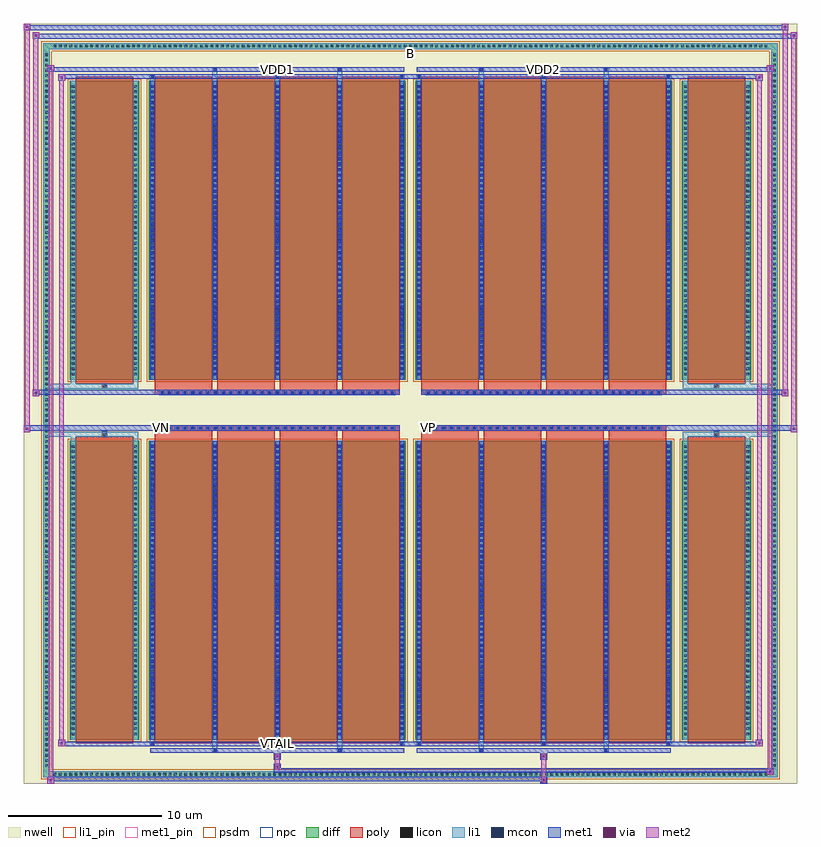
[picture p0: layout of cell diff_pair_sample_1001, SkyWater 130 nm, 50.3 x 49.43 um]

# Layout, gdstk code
import gdstk
lib = gdstk.Library(unit=1e-6, precision=5e-09)
def R(c, l, rs):  # rectangles x0, y0, x1, y1
    for r in rs: c.add(gdstk.rectangle(r[:2], r[2:], *l))
def A(c, l, x, y, w, h, nx, ny, dx, dy):  # array of equal rectangles
    R(c, l, [(x+i*dx, y+j*dy, x+i*dx+w, y+j*dy+h) for i in range(nx) for j in range(ny)])
def P(c, l, *ps):  # polygons
    for p in ps: c.add(gdstk.Polygon(p, *l))
nwell = (64, 20)
diff = (65, 20)
poly = (66, 20)
licon = (66, 44)
li1_pin = (67, 16)
li1 = (67, 20)
mcon = (67, 44)
met1_pin = (68, 16)
met1 = (68, 20)
via = (68, 44)
met2 = (69, 20)
psdm = (94, 20)
npc = (95, 20)

diff_pair_sample_1001 = lib.new_cell('diff_pair_sample_1001')
R(diff_pair_sample_1001, nwell, [(-25.15,-24.28,25.15,25.15), (-22.47,-22.47,-0.01,-0.795), (0.01,-22.47,22.47,-0.795), (-22.47,0.795,-0.01,22.47), (0.01,0.795,22.47,22.47)])
A(diff_pair_sample_1001, diff, -23.325, -23.88, 0.41, 0.41, 137, 2, 0.34, 47.35)
A(diff_pair_sample_1001, diff, -23.88, -23.325, 0.41, 0.41, 1, 137, 0, 0.34)
A(diff_pair_sample_1001, diff, 23.47, -23.325, 0.41, 0.41, 1, 137, 0, 0.34)
R(diff_pair_sample_1001, diff, [(-23.325,-23.88,23.325,-23.47), (-23.88,-23.325,-23.47,23.325), (23.47,-23.325,23.88,23.325), (-22.16,-21.425,-17.65,-1.985), (-17.01,-21.425,-0.32,-1.985), (0.32,-21.425,17.01,-1.985), (17.65,-21.425,22.16,-1.985), (-22.16,1.985,-17.65,21.425), (-17.01,1.985,-0.32,21.425), (0.32,1.985,17.01,21.425), (17.65,1.985,22.16,21.425), (-23.325,23.47,23.325,23.88)])
P(diff_pair_sample_1001, diff, [(23.88,23.88),(-23.88,23.88),(-23.88,-23.47),(-23.47,-23.47),(-23.47,23.47),(23.47,23.47),(23.47,-23.47),(-23.47,-23.47),(-23.88,-23.47),(-23.88,-23.88),(23.88,-23.88)])
A(diff_pair_sample_1001, poly, -16.62, -21.675, 3.73, 19.94, 4, 2, 4.06, 23.41)
A(diff_pair_sample_1001, poly, 0.71, -21.675, 3.73, 19.94, 4, 2, 4.06, 23.41)
A(diff_pair_sample_1001, poly, -16.62, -1.735, 3.73, 0.41, 4, 2, 4.06, 3.06)
A(diff_pair_sample_1001, poly, 0.71, -1.735, 3.73, 0.41, 4, 2, 4.06, 3.06)
A(diff_pair_sample_1001, poly, -16.33, -1.325, 0.33, 0.33, 31, 2, 0.5, 2.32)
A(diff_pair_sample_1001, poly, 1, -1.325, 0.33, 0.33, 31, 2, 0.5, 2.32)
R(diff_pair_sample_1001, poly, [(-21.77,-21.675,-18.04,-1.735), (18.04,-21.675,21.77,-1.735), (-20.07,-1.735,-19.74,-1.405), (-20.07,-1.735,-19.74,-1.405), (19.74,-1.735,20.07,-1.405), (19.74,-1.735,20.07,-1.405), (-16.62,-1.325,-0.71,-0.995), (0.71,-1.325,16.62,-0.995), (-16.62,0.995,-0.71,1.325), (0.71,0.995,16.62,1.325), (-20.07,1.405,-19.74,1.735), (-20.07,1.405,-19.74,1.735), (19.74,1.405,20.07,1.735), (19.74,1.405,20.07,1.735), (-21.77,1.735,-18.04,21.675), (18.04,1.735,21.77,21.675)])
A(diff_pair_sample_1001, licon, -23.205, -23.76, 0.17, 0.17, 137, 2, 0.34, 47.35)
A(diff_pair_sample_1001, licon, -23.76, -23.205, 0.17, 0.17, 1, 137, 0, 0.34)
A(diff_pair_sample_1001, licon, 23.59, -23.205, 0.17, 0.17, 1, 137, 0, 0.34)
A(diff_pair_sample_1001, licon, -22.02, -21.14, 0.17, 0.17, 1, 56, 0, 0.34)
A(diff_pair_sample_1001, licon, -17.96, -21.14, 0.17, 0.17, 1, 56, 0, 0.34)
A(diff_pair_sample_1001, licon, -16.87, -21.14, 0.17, 0.17, 5, 56, 4.06, 0.34)
A(diff_pair_sample_1001, licon, 0.46, -21.14, 0.17, 0.17, 5, 56, 4.06, 0.34)
A(diff_pair_sample_1001, licon, 17.79, -21.14, 0.17, 0.17, 1, 56, 0, 0.34)
A(diff_pair_sample_1001, licon, 21.85, -21.14, 0.17, 0.17, 1, 56, 0, 0.34)
A(diff_pair_sample_1001, licon, -16.25, -1.245, 0.17, 0.17, 31, 2, 0.5, 2.32)
A(diff_pair_sample_1001, licon, 1.08, -1.245, 0.17, 0.17, 31, 2, 0.5, 2.32)
A(diff_pair_sample_1001, licon, -22.02, 2.27, 0.17, 0.17, 1, 56, 0, 0.34)
A(diff_pair_sample_1001, licon, -17.96, 2.27, 0.17, 0.17, 1, 56, 0, 0.34)
A(diff_pair_sample_1001, licon, -16.87, 2.27, 0.17, 0.17, 5, 56, 4.06, 0.34)
A(diff_pair_sample_1001, licon, 0.46, 2.27, 0.17, 0.17, 5, 56, 4.06, 0.34)
A(diff_pair_sample_1001, licon, 17.79, 2.27, 0.17, 0.17, 1, 56, 0, 0.34)
A(diff_pair_sample_1001, licon, 21.85, 2.27, 0.17, 0.17, 1, 56, 0, 0.34)
R(diff_pair_sample_1001, licon, [(-19.99,-1.655,-19.82,-1.485), (19.82,-1.655,19.99,-1.485), (-19.99,1.485,-19.82,1.655), (19.82,1.485,19.99,1.655)])
R(diff_pair_sample_1001, li1_pin, [(-0.25,22.97,0.25,23.47)])
A(diff_pair_sample_1001, li1, -23.285, -23.84, 0.33, 0.33, 137, 2, 0.34, 47.35)
A(diff_pair_sample_1001, li1, -23.84, -23.285, 0.33, 0.33, 1, 137, 0, 0.34)
A(diff_pair_sample_1001, li1, 23.51, -23.285, 0.33, 0.33, 1, 137, 0, 0.34)
A(diff_pair_sample_1001, li1, -16.95, -21.8, 0.33, 0.375, 3, 2, 8.12, 43.225)
A(diff_pair_sample_1001, li1, -16.87, -21.8, 0.17, 0.17, 3, 2, 8.12, 43.43)
A(diff_pair_sample_1001, li1, 0.38, -21.8, 0.33, 0.375, 3, 2, 8.12, 43.225)
A(diff_pair_sample_1001, li1, 0.46, -21.8, 0.17, 0.17, 3, 2, 8.12, 43.43)
A(diff_pair_sample_1001, li1, -16.95, -21.425, 0.33, 19.44, 5, 2, 4.06, 23.41)
A(diff_pair_sample_1001, li1, 0.38, -21.425, 0.33, 19.44, 5, 2, 4.06, 23.41)
A(diff_pair_sample_1001, li1, -22.1, -21.22, 0.33, 0.33, 1, 56, 0, 0.34)
A(diff_pair_sample_1001, li1, -18.04, -21.22, 0.33, 0.33, 1, 56, 0, 0.34)
A(diff_pair_sample_1001, li1, -16.95, -21.22, 0.33, 0.33, 5, 56, 4.06, 0.34)
A(diff_pair_sample_1001, li1, 0.38, -21.22, 0.33, 0.33, 5, 56, 4.06, 0.34)
A(diff_pair_sample_1001, li1, 17.71, -21.22, 0.33, 0.33, 1, 56, 0, 0.34)
A(diff_pair_sample_1001, li1, 21.77, -21.22, 0.33, 0.33, 1, 56, 0, 0.34)
A(diff_pair_sample_1001, li1, -16.87, -21.15, 0.17, 0.17, 5, 53, 4.06, 0.36)
A(diff_pair_sample_1001, li1, -16.87, -21.15, 0.17, 18.89, 5, 2, 4.06, 23.41)
A(diff_pair_sample_1001, li1, 0.46, -21.15, 0.17, 0.17, 5, 53, 4.06, 0.36)
A(diff_pair_sample_1001, li1, 0.46, -21.15, 0.17, 18.89, 5, 2, 4.06, 23.41)
A(diff_pair_sample_1001, li1, -16.33, -1.325, 0.33, 0.33, 31, 2, 0.5, 2.32)
A(diff_pair_sample_1001, li1, 1, -1.325, 0.33, 0.33, 31, 2, 0.5, 2.32)
A(diff_pair_sample_1001, li1, -22.1, 2.19, 0.33, 0.33, 1, 56, 0, 0.34)
A(diff_pair_sample_1001, li1, -18.04, 2.19, 0.33, 0.33, 1, 56, 0, 0.34)
A(diff_pair_sample_1001, li1, -16.95, 2.19, 0.33, 0.33, 5, 56, 4.06, 0.34)
A(diff_pair_sample_1001, li1, 0.38, 2.19, 0.33, 0.33, 5, 56, 4.06, 0.34)
A(diff_pair_sample_1001, li1, 17.71, 2.19, 0.33, 0.33, 1, 56, 0, 0.34)
A(diff_pair_sample_1001, li1, 21.77, 2.19, 0.33, 0.33, 1, 56, 0, 0.34)
A(diff_pair_sample_1001, li1, -16.87, 2.26, 0.17, 0.17, 5, 53, 4.06, 0.36)
A(diff_pair_sample_1001, li1, 0.46, 2.26, 0.17, 0.17, 5, 53, 4.06, 0.36)
R(diff_pair_sample_1001, li1, [(-23.88,-23.88,-23.47,-23.47), (-23.88,-23.88,-23.47,-23.47), (-23.47,-23.88,23.47,-23.47), (23.47,-23.88,23.88,-23.47), (23.47,-23.88,23.88,-23.47), (-23.88,-23.47,-23.47,23.47), (23.47,-23.47,23.88,23.47), (-12.89,-22.23,-12.56,-21.425), (-12.81,-22.23,-12.64,-22.06), (-4.77,-22.23,-4.44,-21.425), (-4.69,-22.23,-4.52,-22.06), (4.44,-22.23,4.77,-21.425), (4.52,-22.23,4.69,-22.06), (12.56,-22.23,12.89,-21.425), (12.64,-22.23,12.81,-22.06), (-22.1,-21.425,-21.77,-1.985), (-18.04,-21.425,-17.71,-1.985), (17.71,-21.425,18.04,-1.985), (21.77,-21.425,22.1,-1.985), (-22.1,-1.985,-21.77,-1.405), (-18.04,-1.985,-17.71,-1.405), (17.71,-1.985,18.04,-1.405), (21.77,-1.985,22.1,-1.405), (-23.88,-1.735,-20.07,-1.405), (-22.1,-1.735,-20.07,-1.405), (-20.07,-1.735,-19.74,-1.405), (-19.74,-1.735,-17.71,-1.405), (17.71,-1.735,19.74,-1.405), (19.74,-1.735,20.07,-1.405), (19.74,-1.735,23.88,-1.405), (20.07,-1.735,22.1,-1.405), (-23.88,1.405,-20.07,1.735), (-22.1,1.405,-20.07,1.735), (-22.1,1.405,-21.77,1.985), (-20.07,1.405,-19.74,1.735), (-19.74,1.405,-17.71,1.735), (-18.04,1.405,-17.71,1.985), (17.71,1.405,19.74,1.735), (17.71,1.405,18.04,1.985), (19.74,1.405,20.07,1.735), (19.74,1.405,23.88,1.735), (20.07,1.405,22.1,1.735), (21.77,1.405,22.1,1.985), (-22.1,1.985,-21.77,21.425), (-18.04,1.985,-17.71,21.425), (17.71,1.985,18.04,21.425), (21.77,1.985,22.1,21.425), (-12.89,21.425,-12.56,22.23), (-4.77,21.425,-4.44,22.23), (4.44,21.425,4.77,22.23), (12.56,21.425,12.89,22.23), (-12.81,22.06,-12.64,22.23), (-4.69,22.06,-4.52,22.23), (4.52,22.06,4.69,22.23), (12.64,22.06,12.81,22.23), (-23.88,23.47,-23.47,23.88), (-23.88,23.47,-23.47,23.88), (-23.47,23.47,23.47,23.88), (23.47,23.47,23.88,23.88), (23.47,23.47,23.88,23.88)])
A(diff_pair_sample_1001, mcon, -16.87, -21.8, 0.17, 0.17, 3, 2, 8.12, 43.43)
A(diff_pair_sample_1001, mcon, 0.46, -21.8, 0.17, 0.17, 3, 2, 8.12, 43.43)
A(diff_pair_sample_1001, mcon, -16.87, -21.15, 0.17, 0.17, 5, 53, 4.06, 0.36)
A(diff_pair_sample_1001, mcon, 0.46, -21.15, 0.17, 0.17, 5, 53, 4.06, 0.36)
A(diff_pair_sample_1001, mcon, -16.25, -1.245, 0.17, 0.17, 31, 2, 0.5, 2.32)
A(diff_pair_sample_1001, mcon, 1.08, -1.245, 0.17, 0.17, 31, 2, 0.5, 2.32)
A(diff_pair_sample_1001, mcon, -16.87, 2.26, 0.17, 0.17, 5, 53, 4.06, 0.36)
A(diff_pair_sample_1001, mcon, 0.46, 2.26, 0.17, 0.17, 5, 53, 4.06, 0.36)
R(diff_pair_sample_1001, mcon, [(-12.81,-22.23,-12.64,-22.06), (-4.69,-22.23,-4.52,-22.06), (4.52,-22.23,4.69,-22.06), (12.64,-22.23,12.81,-22.06), (-12.81,22.06,-12.64,22.23), (-4.69,22.06,-4.52,22.23), (4.52,22.06,4.69,22.23), (12.64,22.06,12.81,22.23)])
R(diff_pair_sample_1001, met1_pin, [(-8.8,-21.84,-8.53,-21.57), (-16.3,-1.285,-16.03,-1.015), (1.03,-1.285,1.3,-1.015), (-8.8,22.02,-8.53,22.29), (8.53,22.02,8.8,22.29)])
A(diff_pair_sample_1001, met1, -16.93, -21.86, 0.29, 0.29, 3, 2, 8.12, 43.43)
A(diff_pair_sample_1001, met1, 0.4, -21.86, 0.29, 0.29, 3, 2, 8.12, 43.43)
A(diff_pair_sample_1001, met1, -16.93, -21.425, 0.29, 19.44, 5, 2, 4.06, 23.41)
A(diff_pair_sample_1001, met1, 0.4, -21.425, 0.29, 19.44, 5, 2, 4.06, 23.41)
A(diff_pair_sample_1001, met1, -16.93, -21.21, 0.29, 0.29, 5, 53, 4.06, 0.36)
A(diff_pair_sample_1001, met1, 0.4, -21.21, 0.29, 0.29, 5, 53, 4.06, 0.36)
A(diff_pair_sample_1001, met1, -16.31, -1.305, 0.29, 0.29, 31, 2, 0.5, 2.32)
A(diff_pair_sample_1001, met1, 1.02, -1.305, 0.29, 0.29, 31, 2, 0.5, 2.32)
A(diff_pair_sample_1001, met1, -16.93, 2.2, 0.29, 0.29, 5, 53, 4.06, 0.36)
A(diff_pair_sample_1001, met1, 0.4, 2.2, 0.29, 0.29, 5, 53, 4.06, 0.36)
R(diff_pair_sample_1001, met1, [(-23.61,-24.28,-23.18,-23.85), (8.45,-24.28,8.88,-23.85), (-23.61,-24.14,8.88,-23.85), (23.18,-23.71,23.61,-23.28), (-8.88,-23.57,23.61,-23.28), (-8.88,-23.43,-8.45,-23), (-8.88,-22.72,-8.45,-22.29), (8.45,-22.72,8.88,-22.29), (-16.93,-22.29,-0.4,-22), (-12.87,-22.29,-12.58,-22), (-4.75,-22.29,-4.46,-22), (0.4,-22.29,16.93,-22), (4.46,-22.29,4.75,-22), (12.58,-22.29,12.87,-22), (-22.9,-21.86,-22.47,-21.43), (-22.9,-21.86,-16.93,-21.57), (-16.93,-21.86,-0.4,-21.57), (-0.4,-21.86,0.4,-21.57), (0.4,-21.86,16.93,-21.57), (16.93,-21.86,22.9,-21.57), (22.47,-21.86,22.9,-21.43), (-25.15,-1.425,-24.72,-0.995), (24.72,-1.425,25.15,-0.995), (-25.15,-1.325,-0.71,-0.995), (-16.62,-1.325,-0.71,-0.995), (0.71,-1.325,16.62,-0.995), (0.71,-1.325,25.15,-0.995), (-24.58,0.895,-24.15,1.325), (24.15,0.895,24.58,1.325), (-24.58,0.995,-16.62,1.325), (-16.62,0.995,-0.71,1.325), (0.71,0.995,16.62,1.325), (16.62,0.995,24.58,1.325), (-22.9,21.43,-22.47,21.86), (22.47,21.43,22.9,21.86), (-22.9,21.57,-16.93,21.86), (-16.93,21.57,-0.4,21.86), (-0.4,21.57,0.4,21.86), (0.4,21.57,16.93,21.86), (16.93,21.57,22.9,21.86), (-23.61,22,-23.18,22.43), (-23.61,22,-16.93,22.29), (-16.93,22,-0.4,22.29), (-12.87,22,-12.58,22.29), (-4.75,22,-4.46,22.29), (0.4,22,16.93,22.29), (4.46,22,4.75,22.29), (12.58,22,12.87,22.29), (16.93,22,23.61,22.29), (23.18,22,23.61,22.43), (-24.58,24.15,-24.15,24.58), (-24.58,24.15,-22.47,24.48), (-22.47,24.15,22.47,24.48), (22.47,24.15,25.15,24.48), (24.72,24.15,25.15,24.58), (-25.15,24.72,-24.72,25.15), (-25.15,24.72,-22.47,25.05), (-22.47,24.72,22.47,25.05), (22.47,24.72,24.58,25.05), (24.15,24.72,24.58,25.15)])
R(diff_pair_sample_1001, via, [(-23.47,-24.14,-23.32,-23.99), (8.59,-24.14,8.74,-23.99), (23.32,-23.57,23.47,-23.42), (-8.74,-23.29,-8.59,-23.14), (-8.74,-22.58,-8.59,-22.43), (8.59,-22.58,8.74,-22.43), (-22.76,-21.72,-22.61,-21.57), (22.61,-21.72,22.76,-21.57), (-25.01,-1.285,-24.86,-1.135), (24.86,-1.285,25.01,-1.135), (-24.44,1.035,-24.29,1.185), (24.29,1.035,24.44,1.185), (-22.76,21.57,-22.61,21.72), (22.61,21.57,22.76,21.72), (-23.47,22.14,-23.32,22.29), (23.32,22.14,23.47,22.29), (-24.44,24.29,-24.29,24.44), (24.86,24.29,25.01,24.44), (-25.01,24.86,-24.86,25.01), (24.29,24.86,24.44,25.01)])
R(diff_pair_sample_1001, met2, [(-23.61,-24.28,-23.18,-23.85), (-23.54,-24.28,-23.25,22.43), (-23.25,-24.28,-23.18,-23.85), (-23.56,-24.23,-23.23,-23.9), (8.5,-24.23,8.83,-23.9), (8.5,-23.9,8.83,-22.67), (23.18,-23.71,23.61,-23.28), (23.25,-23.71,23.54,22.43), (23.54,-23.71,23.61,-23.28), (23.23,-23.66,23.56,-23.33), (-8.83,-23.38,-8.5,-23.05), (-8.83,-23.05,-8.5,-22.67), (-8.83,-22.67,-8.5,-22.34), (8.5,-22.67,8.83,-22.34), (-22.9,-21.86,-22.47,-21.43), (-22.83,-21.86,-22.54,21.86), (-22.54,-21.86,-22.47,-21.43), (22.47,-21.86,22.9,-21.43), (22.54,-21.86,22.83,21.86), (22.83,-21.86,22.9,-21.43), (-22.85,-21.81,-22.52,-21.48), (22.52,-21.81,22.85,-21.48), (-25.15,-1.425,-24.72,-0.995), (-25.1,-1.425,-24.77,25.15), (-24.77,-1.425,-24.72,-0.995), (24.72,-1.425,25.15,-0.995), (24.77,-1.425,25.1,24.58), (25.1,-1.425,25.15,-0.995), (-25.1,-1.375,-24.77,-1.045), (24.77,-1.375,25.1,-1.045), (-24.58,0.895,-24.15,1.325), (-24.53,0.895,-24.2,24.58), (-24.2,0.895,-24.15,1.325), (24.15,0.895,24.58,1.325), (24.2,0.895,24.53,25.15), (24.53,0.895,24.58,1.325), (-24.53,0.945,-24.2,1.275), (24.2,0.945,24.53,1.275), (-22.9,21.43,-22.47,21.86), (-22.54,21.43,-22.47,21.86), (22.47,21.43,22.9,21.86), (22.83,21.43,22.9,21.86), (-22.85,21.48,-22.52,21.81), (22.52,21.48,22.85,21.81), (-23.61,22,-23.18,22.43), (-23.25,22,-23.18,22.43), (23.18,22,23.61,22.43), (23.54,22,23.61,22.43), (-23.56,22.05,-23.23,22.38), (23.23,22.05,23.56,22.38), (-24.58,24.15,-24.15,24.58), (-24.2,24.15,-24.15,24.58), (24.72,24.15,25.15,24.58), (25.1,24.15,25.15,24.58), (-24.53,24.2,-24.2,24.53), (24.77,24.2,25.1,24.53), (-25.15,24.72,-24.72,25.15), (-24.77,24.72,-24.72,25.15), (24.15,24.72,24.58,25.15), (24.53,24.72,24.58,25.15), (-25.1,24.77,-24.77,25.1), (24.2,24.77,24.53,25.1)])
R(diff_pair_sample_1001, psdm, [(-22.29,-21.555,-17.52,-1.855), (-17.14,-21.555,-0.19,-1.855), (0.19,-21.555,17.14,-1.855), (17.52,-21.555,22.29,-1.855), (-22.29,1.855,-17.52,21.555), (-17.14,1.855,-0.19,21.555), (0.19,1.855,17.14,21.555), (17.52,1.855,22.29,21.555)])
P(diff_pair_sample_1001, psdm, [(24.01,24.01),(-24.01,24.01),(-24.01,-23.34),(-23.34,-23.34),(-23.34,23.34),(23.34,23.34),(23.34,-23.34),(-23.34,-23.34),(-24.01,-23.34),(-24.01,-24.01),(24.01,-24.01)])
A(diff_pair_sample_1001, npc, -16.35, -1.345, 0.37, 0.37, 31, 2, 0.5, 2.32)
A(diff_pair_sample_1001, npc, 0.98, -1.345, 0.37, 0.37, 31, 2, 0.5, 2.32)
R(diff_pair_sample_1001, npc, [(-20.09,-1.755,-19.72,-1.385), (19.72,-1.755,20.09,-1.385), (-16.35,-1.345,-15.48,-0.975), (-16.35,-1.345,-15.48,-0.975), (-15.85,-1.345,-14.98,-0.975), (-15.85,-1.345,-14.98,-0.975), (-15.35,-1.345,-14.48,-0.975), (-15.35,-1.345,-14.48,-0.975), (-14.85,-1.345,-13.98,-0.975), (-14.85,-1.345,-13.98,-0.975), (-14.35,-1.345,-13.48,-0.975), (-14.35,-1.345,-13.48,-0.975), (-13.85,-1.345,-12.98,-0.975), (-13.85,-1.345,-12.98,-0.975), (-13.35,-1.345,-12.48,-0.975), (-13.35,-1.345,-12.48,-0.975), (-12.85,-1.345,-11.98,-0.975), (-12.85,-1.345,-11.98,-0.975), (-12.35,-1.345,-11.48,-0.975), (-12.35,-1.345,-11.48,-0.975), (-11.85,-1.345,-10.98,-0.975), (-11.85,-1.345,-10.98,-0.975), (-11.35,-1.345,-10.48,-0.975), (-11.35,-1.345,-10.48,-0.975), (-10.85,-1.345,-9.98,-0.975), (-10.85,-1.345,-9.98,-0.975), (-10.35,-1.345,-9.48,-0.975), (-10.35,-1.345,-9.48,-0.975), (-9.85,-1.345,-8.98,-0.975), (-9.85,-1.345,-8.98,-0.975), (-9.35,-1.345,-8.48,-0.975), (-9.35,-1.345,-8.48,-0.975), (-8.85,-1.345,-7.98,-0.975), (-8.85,-1.345,-7.98,-0.975), (-8.35,-1.345,-7.48,-0.975), (-8.35,-1.345,-7.48,-0.975), (-7.85,-1.345,-6.98,-0.975), (-7.85,-1.345,-6.98,-0.975), (-7.35,-1.345,-6.48,-0.975), (-7.35,-1.345,-6.48,-0.975), (-6.85,-1.345,-5.98,-0.975), (-6.85,-1.345,-5.98,-0.975), (-6.35,-1.345,-5.48,-0.975), (-6.35,-1.345,-5.48,-0.975), (-5.85,-1.345,-4.98,-0.975), (-5.85,-1.345,-4.98,-0.975), (-5.35,-1.345,-4.48,-0.975), (-5.35,-1.345,-4.48,-0.975), (-4.85,-1.345,-3.98,-0.975), (-4.85,-1.345,-3.98,-0.975), (-4.35,-1.345,-3.48,-0.975), (-4.35,-1.345,-3.48,-0.975), (-3.85,-1.345,-2.98,-0.975), (-3.85,-1.345,-2.98,-0.975), (-3.35,-1.345,-2.48,-0.975), (-3.35,-1.345,-2.48,-0.975), (-2.85,-1.345,-1.98,-0.975), (-2.85,-1.345,-1.98,-0.975), (-2.35,-1.345,-1.48,-0.975), (-2.35,-1.345,-1.48,-0.975), (-1.85,-1.345,-0.98,-0.975), (-1.85,-1.345,-0.98,-0.975), (0.98,-1.345,1.85,-0.975), (0.98,-1.345,1.85,-0.975), (1.48,-1.345,2.35,-0.975), (1.48,-1.345,2.35,-0.975), (1.98,-1.345,2.85,-0.975), (1.98,-1.345,2.85,-0.975), (2.48,-1.345,3.35,-0.975), (2.48,-1.345,3.35,-0.975), (2.98,-1.345,3.85,-0.975), (2.98,-1.345,3.85,-0.975), (3.48,-1.345,4.35,-0.975), (3.48,-1.345,4.35,-0.975), (3.98,-1.345,4.85,-0.975), (3.98,-1.345,4.85,-0.975), (4.48,-1.345,5.35,-0.975), (4.48,-1.345,5.35,-0.975), (4.98,-1.345,5.85,-0.975), (4.98,-1.345,5.85,-0.975), (5.48,-1.345,6.35,-0.975), (5.48,-1.345,6.35,-0.975), (5.98,-1.345,6.85,-0.975), (5.98,-1.345,6.85,-0.975), (6.48,-1.345,7.35,-0.975), (6.48,-1.345,7.35,-0.975), (6.98,-1.345,7.85,-0.975), (6.98,-1.345,7.85,-0.975), (7.48,-1.345,8.35,-0.975), (7.48,-1.345,8.35,-0.975), (7.98,-1.345,8.85,-0.975), (7.98,-1.345,8.85,-0.975), (8.48,-1.345,9.35,-0.975), (8.48,-1.345,9.35,-0.975), (8.98,-1.345,9.85,-0.975), (8.98,-1.345,9.85,-0.975), (9.48,-1.345,10.35,-0.975), (9.48,-1.345,10.35,-0.975), (9.98,-1.345,10.85,-0.975), (9.98,-1.345,10.85,-0.975), (10.48,-1.345,11.35,-0.975), (10.48,-1.345,11.35,-0.975), (10.98,-1.345,11.85,-0.975), (10.98,-1.345,11.85,-0.975), (11.48,-1.345,12.35,-0.975), (11.48,-1.345,12.35,-0.975), (11.98,-1.345,12.85,-0.975), (11.98,-1.345,12.85,-0.975), (12.48,-1.345,13.35,-0.975), (12.48,-1.345,13.35,-0.975), (12.98,-1.345,13.85,-0.975), (12.98,-1.345,13.85,-0.975), (13.48,-1.345,14.35,-0.975), (13.48,-1.345,14.35,-0.975), (13.98,-1.345,14.85,-0.975), (13.98,-1.345,14.85,-0.975), (14.48,-1.345,15.35,-0.975), (14.48,-1.345,15.35,-0.975), (14.98,-1.345,15.85,-0.975), (14.98,-1.345,15.85,-0.975), (15.48,-1.345,16.35,-0.975), (15.48,-1.345,16.35,-0.975), (-16.35,0.975,-15.48,1.345), (-16.35,0.975,-15.48,1.345), (-15.85,0.975,-14.98,1.345), (-15.85,0.975,-14.98,1.345), (-15.35,0.975,-14.48,1.345), (-15.35,0.975,-14.48,1.345), (-14.85,0.975,-13.98,1.345), (-14.85,0.975,-13.98,1.345), (-14.35,0.975,-13.48,1.345), (-14.35,0.975,-13.48,1.345), (-13.85,0.975,-12.98,1.345), (-13.85,0.975,-12.98,1.345), (-13.35,0.975,-12.48,1.345), (-13.35,0.975,-12.48,1.345), (-12.85,0.975,-11.98,1.345), (-12.85,0.975,-11.98,1.345), (-12.35,0.975,-11.48,1.345), (-12.35,0.975,-11.48,1.345), (-11.85,0.975,-10.98,1.345), (-11.85,0.975,-10.98,1.345), (-11.35,0.975,-10.48,1.345), (-11.35,0.975,-10.48,1.345), (-10.85,0.975,-9.98,1.345), (-10.85,0.975,-9.98,1.345), (-10.35,0.975,-9.48,1.345), (-10.35,0.975,-9.48,1.345), (-9.85,0.975,-8.98,1.345), (-9.85,0.975,-8.98,1.345), (-9.35,0.975,-8.48,1.345), (-9.35,0.975,-8.48,1.345), (-8.85,0.975,-7.98,1.345), (-8.85,0.975,-7.98,1.345), (-8.35,0.975,-7.48,1.345), (-8.35,0.975,-7.48,1.345), (-7.85,0.975,-6.98,1.345), (-7.85,0.975,-6.98,1.345), (-7.35,0.975,-6.48,1.345), (-7.35,0.975,-6.48,1.345), (-6.85,0.975,-5.98,1.345), (-6.85,0.975,-5.98,1.345), (-6.35,0.975,-5.48,1.345), (-6.35,0.975,-5.48,1.345), (-5.85,0.975,-4.98,1.345), (-5.85,0.975,-4.98,1.345), (-5.35,0.975,-4.48,1.345), (-5.35,0.975,-4.48,1.345), (-4.85,0.975,-3.98,1.345), (-4.85,0.975,-3.98,1.345), (-4.35,0.975,-3.48,1.345), (-4.35,0.975,-3.48,1.345), (-3.85,0.975,-2.98,1.345), (-3.85,0.975,-2.98,1.345), (-3.35,0.975,-2.48,1.345), (-3.35,0.975,-2.48,1.345), (-2.85,0.975,-1.98,1.345), (-2.85,0.975,-1.98,1.345), (-2.35,0.975,-1.48,1.345), (-2.35,0.975,-1.48,1.345), (-1.85,0.975,-0.98,1.345), (-1.85,0.975,-0.98,1.345), (0.98,0.975,1.85,1.345), (0.98,0.975,1.85,1.345), (1.48,0.975,2.35,1.345), (1.48,0.975,2.35,1.345), (1.98,0.975,2.85,1.345), (1.98,0.975,2.85,1.345), (2.48,0.975,3.35,1.345), (2.48,0.975,3.35,1.345), (2.98,0.975,3.85,1.345), (2.98,0.975,3.85,1.345), (3.48,0.975,4.35,1.345), (3.48,0.975,4.35,1.345), (3.98,0.975,4.85,1.345), (3.98,0.975,4.85,1.345), (4.48,0.975,5.35,1.345), (4.48,0.975,5.35,1.345), (4.98,0.975,5.85,1.345), (4.98,0.975,5.85,1.345), (5.48,0.975,6.35,1.345), (5.48,0.975,6.35,1.345), (5.98,0.975,6.85,1.345), (5.98,0.975,6.85,1.345), (6.48,0.975,7.35,1.345), (6.48,0.975,7.35,1.345), (6.98,0.975,7.85,1.345), (6.98,0.975,7.85,1.345), (7.48,0.975,8.35,1.345), (7.48,0.975,8.35,1.345), (7.98,0.975,8.85,1.345), (7.98,0.975,8.85,1.345), (8.48,0.975,9.35,1.345), (8.48,0.975,9.35,1.345), (8.98,0.975,9.85,1.345), (8.98,0.975,9.85,1.345), (9.48,0.975,10.35,1.345), (9.48,0.975,10.35,1.345), (9.98,0.975,10.85,1.345), (9.98,0.975,10.85,1.345), (10.48,0.975,11.35,1.345), (10.48,0.975,11.35,1.345), (10.98,0.975,11.85,1.345), (10.98,0.975,11.85,1.345), (11.48,0.975,12.35,1.345), (11.48,0.975,12.35,1.345), (11.98,0.975,12.85,1.345), (11.98,0.975,12.85,1.345), (12.48,0.975,13.35,1.345), (12.48,0.975,13.35,1.345), (12.98,0.975,13.85,1.345), (12.98,0.975,13.85,1.345), (13.48,0.975,14.35,1.345), (13.48,0.975,14.35,1.345), (13.98,0.975,14.85,1.345), (13.98,0.975,14.85,1.345), (14.48,0.975,15.35,1.345), (14.48,0.975,15.35,1.345), (14.98,0.975,15.85,1.345), (14.98,0.975,15.85,1.345), (15.48,0.975,16.35,1.345), (15.48,0.975,16.35,1.345), (-20.09,1.385,-19.72,1.755), (19.72,1.385,20.09,1.755)])
diff_pair_sample_1001.add(gdstk.Label('VTAIL', (-8.665,-21.705), layer=68, texttype=5))
diff_pair_sample_1001.add(gdstk.Label('VN', (-16.165,-1.15), layer=68, texttype=5))
diff_pair_sample_1001.add(gdstk.Label('VP', (1.165,-1.15), layer=68, texttype=5))
diff_pair_sample_1001.add(gdstk.Label('B', (0,23.22), layer=67, texttype=5))
diff_pair_sample_1001.add(gdstk.Label('VDD2', (8.665,22.155), layer=68, texttype=5))
diff_pair_sample_1001.add(gdstk.Label('VDD1', (-8.665,22.155), layer=68, texttype=5))

lib.write_gds('diff_pair_sample_1001.gds')
